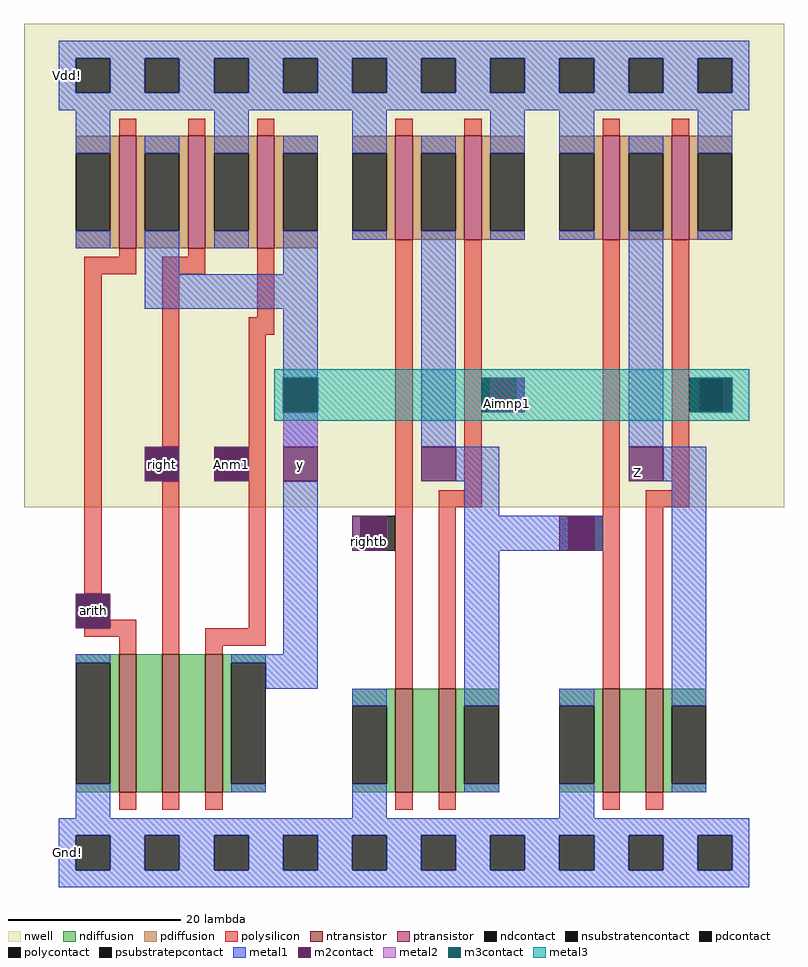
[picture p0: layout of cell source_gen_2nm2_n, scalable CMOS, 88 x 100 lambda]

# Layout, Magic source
magic
tech scmos
<< nwell >>
rect -6 40 34 96
<< ntransistor >>
rect 5 7 7 23
rect 10 7 12 23
rect 15 7 17 23
<< ptransistor >>
rect 5 70 7 83
rect 13 70 15 83
rect 21 70 23 83
<< ndiffusion >>
rect 0 22 5 23
rect 4 8 5 22
rect 0 7 5 8
rect 7 7 10 23
rect 12 7 15 23
rect 17 22 22 23
rect 17 8 18 22
rect 17 7 22 8
<< pdiffusion >>
rect 0 81 5 83
rect 4 72 5 81
rect 0 70 5 72
rect 7 81 13 83
rect 7 72 8 81
rect 12 72 13 81
rect 7 70 13 72
rect 15 81 21 83
rect 15 72 16 81
rect 20 72 21 81
rect 15 70 21 72
rect 23 81 28 83
rect 23 72 24 81
rect 23 70 28 72
<< ndcontact >>
rect 0 8 4 22
rect 18 8 22 22
<< pdcontact >>
rect 0 72 4 81
rect 8 72 12 81
rect 16 72 20 81
rect 24 72 28 81
<< psubstratepcontact >>
rect 0 -2 4 2
rect 8 -2 12 2
rect 16 -2 20 2
rect 24 -2 28 2
<< nsubstratencontact >>
rect 0 88 4 92
rect 8 88 12 92
rect 16 88 20 92
rect 24 88 28 92
<< polysilicon >>
rect 5 83 7 85
rect 13 83 15 85
rect 21 83 23 85
rect 5 69 7 70
rect 13 69 15 70
rect 1 67 7 69
rect 10 67 15 69
rect 1 30 3 67
rect 10 47 12 67
rect 21 62 23 70
rect 20 60 23 62
rect 4 26 7 27
rect 1 25 7 26
rect 5 23 7 25
rect 10 23 12 43
rect 20 26 22 60
rect 15 24 22 26
rect 15 23 17 24
rect 5 5 7 7
rect 10 5 12 7
rect 15 5 17 7
<< polycontact >>
rect 8 43 12 47
rect 16 43 20 47
rect 0 26 4 30
<< metal1 >>
rect -2 92 30 94
rect -2 88 0 92
rect 4 88 8 92
rect 12 88 16 92
rect 20 88 24 92
rect 28 88 30 92
rect -2 86 30 88
rect 0 81 4 86
rect 0 70 4 72
rect 8 81 12 83
rect 8 67 12 72
rect 16 81 20 86
rect 16 70 20 72
rect 24 81 28 83
rect 24 67 28 72
rect 8 63 28 67
rect 24 55 28 63
rect 24 47 28 51
rect 24 23 28 43
rect 45 35 61 39
rect 0 22 4 23
rect 0 4 4 8
rect 18 22 28 23
rect 22 19 28 22
rect 18 7 22 8
rect -2 2 30 4
rect -2 -2 0 2
rect 4 -2 8 2
rect 12 -2 16 2
rect 20 -2 24 2
rect 28 -2 30 2
rect -2 -4 30 -2
<< m2contact >>
rect 24 51 28 55
rect 72 51 76 55
rect 8 43 12 47
rect 16 43 20 47
rect 24 43 28 47
rect 0 26 4 30
<< metal2 >>
rect 24 47 28 51
<< m3contact >>
rect 24 51 28 55
rect 72 51 76 55
<< metal3 >>
rect 23 55 78 56
rect 23 51 24 55
rect 28 51 72 55
rect 76 51 78 55
rect 23 50 78 51
use nand2_1x  nand2_1x_0
transform 1 0 32 0 1 0
box -6 -4 26 96
use nand2_1x  nand2_1x_1
transform 1 0 56 0 1 0
box -6 -4 26 96
<< labels >>
rlabel m2contact 26 45 26 45 1 y
rlabel metal1 -1 90 -1 90 3 Vdd!
rlabel metal1 -1 0 -1 0 2 Gnd!
rlabel m2contact 10 45 10 45 1 right
rlabel m2contact 18 45 18 45 1 Anm1
rlabel space 34 36 34 36 1 rightb
rlabel metal3 50 52 50 52 1 Aimnp1
rlabel space 65 44 65 44 1 Z
rlabel m2contact 2 28 2 28 1 arith
<< end >>

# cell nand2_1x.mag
magic
tech scmos
<< nwell >>
rect -6 40 26 96
<< ntransistor >>
rect 5 7 7 19
rect 10 7 12 19
<< ptransistor >>
rect 5 71 7 83
rect 13 71 15 83
<< ndiffusion >>
rect 0 17 5 19
rect 4 8 5 17
rect 0 7 5 8
rect 7 7 10 19
rect 12 17 17 19
rect 12 8 13 17
rect 12 7 17 8
<< pdiffusion >>
rect 0 81 5 83
rect 4 72 5 81
rect 0 71 5 72
rect 7 81 13 83
rect 7 72 8 81
rect 12 72 13 81
rect 7 71 13 72
rect 15 81 20 83
rect 15 72 16 81
rect 15 71 20 72
<< ndcontact >>
rect 0 8 4 17
rect 13 8 17 17
<< pdcontact >>
rect 0 72 4 81
rect 8 72 12 81
rect 16 72 20 81
<< psubstratepcontact >>
rect 0 -2 4 2
rect 8 -2 12 2
rect 16 -2 20 2
<< nsubstratencontact >>
rect 0 88 4 92
rect 8 88 12 92
rect 16 88 20 92
<< polysilicon >>
rect 5 83 7 85
rect 13 83 15 85
rect 5 19 7 71
rect 13 42 15 71
rect 10 40 15 42
rect 10 19 12 40
rect 5 5 7 7
rect 10 5 12 7
<< polycontact >>
rect 1 35 5 39
rect 15 51 19 55
<< metal1 >>
rect -2 92 22 94
rect -2 88 0 92
rect 4 88 8 92
rect 12 88 16 92
rect 20 88 22 92
rect -2 86 22 88
rect 0 81 4 86
rect 0 71 4 72
rect 8 81 12 83
rect 8 47 12 72
rect 16 81 20 86
rect 16 71 20 72
rect 12 43 17 47
rect 0 17 4 19
rect 0 4 4 8
rect 13 17 17 43
rect 13 7 17 8
rect -2 2 22 4
rect -2 -2 0 2
rect 4 -2 8 2
rect 12 -2 16 2
rect 20 -2 22 2
rect -2 -4 22 -2
<< m2contact >>
rect 16 51 19 55
rect 19 51 20 55
rect 8 43 12 47
rect 0 35 1 39
rect 1 35 4 39
<< labels >>
rlabel m2contact 1 37 1 37 1 A
rlabel m2contact 10 45 10 45 1 Y
rlabel m2contact 18 53 18 53 1 b
rlabel metal1 -1 90 -1 90 3 Vdd!
rlabel metal1 -1 0 -1 0 3 Gnd!
<< end >>
